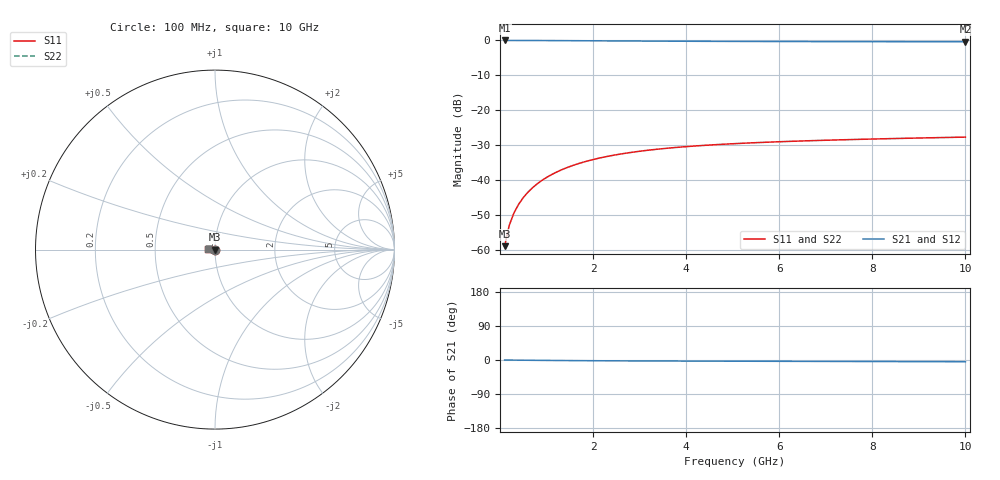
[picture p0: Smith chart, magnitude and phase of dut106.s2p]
! Touchstone file exported from HFSS 2024.1.0
!  File:  C:/UserFiles/LocalFiles/RDL_TSV_Batchsim/temp_TSV1_106_1779377493.aedt
!  Generated:  11:37:04 PM May 21, 2026
!  Design:  TSV1
!  Project:  temp_TSV1_106_1779377493
!  Setup:  Setup1
!  Solution:  Sweep
! Variables:
!  dtsv = 10.83um
!  hbump = 3um
!  htsv = 69.75um
!  lrdl = 252.1521522um
!  p = 40
!  p1 = 53.45um
!  t = 500um
!  trdl = 3um
!  wrdl = 24.89489489um
# GHz S MA R 50.000000
! Terminal data exported
! Port[1] = TSV22_T1
! Port[2] = TSV22_T2
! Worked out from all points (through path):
!   100 points, 100 MHz to 10 GHz, reference 50 ohm
!   highest |S21| = 0.00 dB at 100 MHz (marker M1); lowest = -0.4 dB at 10 GHz (marker M2)
!   lowest |S11| = -59.0 dB at 100 MHz (marker M3), VSWR 1.00, Z = 50 - j0.112 ohm
!   |S11| at or under -10 dB: start of sweep to end of sweep
!   |S22| runs from -59.0 to -27.7 dB; largest |S21 - S12| = 4.6e-15
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0.1  0.001126 -86.1  0.9998 -0.1  0.9998 -0.1  0.001126 -86.1
! Gamma 0 0 0 0
! Port Impedance 50 0 50 0
0.2  0.002244 -90.8  0.9997 -0.2  0.9997 -0.2  0.002244 -90.8
0.3  0.003362 -93.5  0.9995 -0.3  0.9995 -0.3  0.003362 -93.5
0.4  0.004476 -95.9  0.9992 -0.5  0.9992 -0.5  0.004476 -95.9
0.5  0.00558 -98.1  0.9989 -0.6  0.9989 -0.6  0.00558 -98.1
0.6  0.006673 -100.1  0.9985 -0.7  0.9985 -0.7  0.006673 -100.1
0.7  0.00775 -102.1  0.998 -0.8  0.998 -0.8  0.00775 -102.1
0.8  0.008809 -104.1  0.9975 -0.9  0.9975 -0.9  0.008809 -104.1
0.9  0.009848 -106.0  0.9969 -1.0  0.9969 -1.0  0.009848 -106.0
1.1  0.01186 -109.7  0.9956 -1.2  0.9956 -1.2  0.01186 -109.7
1.4  0.01469 -115.0  0.9934 -1.4  0.9934 -1.4  0.01469 -115.0
1.6  0.01644 -118.4  0.9918 -1.6  0.9918 -1.6  0.01644 -118.4
1.8  0.01809 -121.6  0.9902 -1.8  0.9902 -1.8  0.01809 -121.6
2.1  0.02035 -126.1  0.9877 -2.0  0.9877 -2.0  0.02035 -126.1
2.5  0.02301 -131.7  0.9844 -2.2  0.9844 -2.2  0.02301 -131.7
2.9  0.02529 -136.8  0.9813 -2.4  0.9813 -2.4  0.02529 -136.8
3.4  0.0277 -142.5  0.9777 -2.6  0.9777 -2.6  0.0277 -142.5
4.2  0.03074 -150.4  0.9729 -2.9  0.9729 -2.9  0.03074 -150.4
5.1  0.03333 -157.9  0.9686 -3.2  0.9686 -3.2  0.03333 -157.9
6.7  0.03662 -168.6  0.9632 -3.7  0.9632 -3.7  0.03662 -168.6
8.4  0.03918 -177.8  0.9595 -4.1  0.9595 -4.1  0.03918 -177.8
10  0.04117 175.0  0.9572 -4.6  0.9572 -4.6  0.04117 175.0
